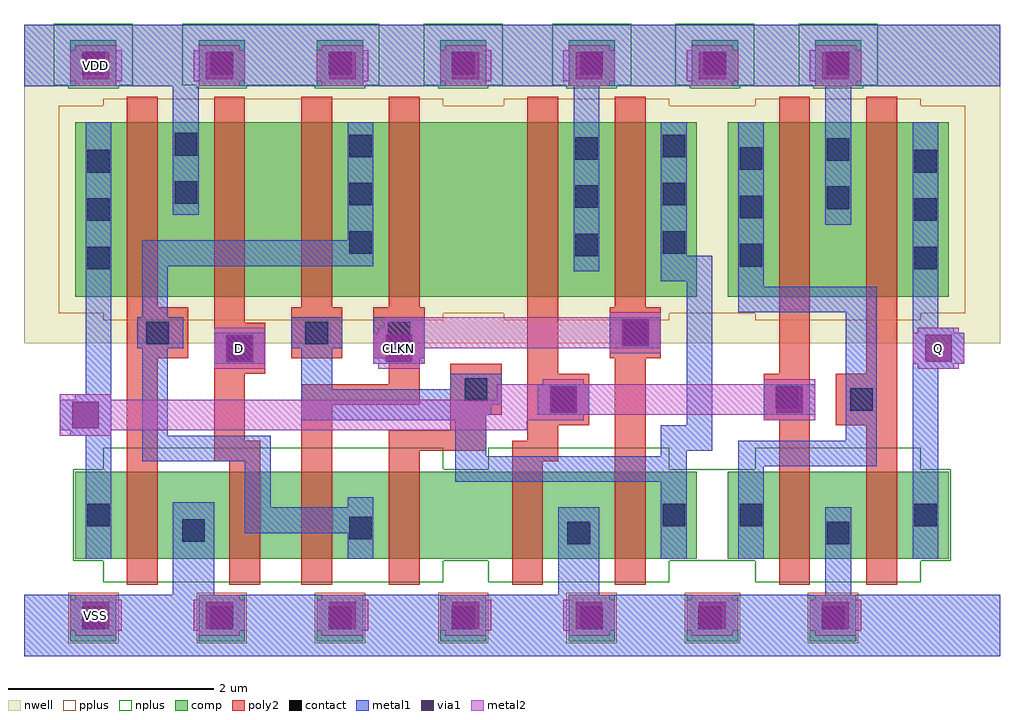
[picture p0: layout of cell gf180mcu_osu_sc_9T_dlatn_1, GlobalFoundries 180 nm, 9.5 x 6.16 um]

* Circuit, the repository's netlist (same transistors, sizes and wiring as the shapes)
* Copyright 2022 Google LLC
*
* Licensed under the Apache License, Version 2.0 (the "License");
* you may not use this file except in compliance with the License.
* You may obtain a copy of the License at
*
*      http://www.apache.org/licenses/LICENSE-2.0
*
* Unless required by applicable law or agreed to in writing, software
* distributed under the License is distributed on an "AS IS" BASIS,
* WITHOUT WARRANTIES OR CONDITIONS OF ANY KIND, either express or implied.
* See the License for the specific language governing permissions and
* limitations under the License.

.option scale=0.05u

.subckt gf180mcu_osu_sc_9T_dlatn_1 D Q CLKN
X0 VDD a_10_19 a_77_70 VDD pmos_3p3 w=34 l=6
X1 a_52_58 CLKN VSS VSS nmos_3p3 w=17 l=6
X2 VDD a_20_14 a_10_19 VDD pmos_3p3 w=34 l=6
X3 Q a_137_19 VDD VDD pmos_3p3 w=34 l=6
X4 a_52_58 CLKN VDD VDD pmos_3p3 w=34 l=6
X5 a_46_19 D VSS VSS nmos_3p3 w=17 l=6
X6 a_20_14 CLKN a_46_19 VSS nmos_3p3 w=17 l=6
X7 a_20_14 a_52_58 a_43_70 VDD pmos_3p3 w=34 l=6
X8 VSS a_10_19 a_137_19 VSS nmos_3p3 w=17 l=6
X9 VDD a_10_19 a_137_19 VDD pmos_3p3 w=34 l=6
X10 a_77_19 a_52_58 a_20_14 VSS nmos_3p3 w=17 l=6
X11 a_77_70 CLKN a_20_14 VDD pmos_3p3 w=34 l=6
X12 VSS a_20_14 a_10_19 VSS nmos_3p3 w=17 l=6
X13 Q a_137_19 VSS VSS nmos_3p3 w=17 l=6
X14 a_43_70 D VDD VDD pmos_3p3 w=34 l=6
X15 VSS a_10_19 a_77_19 VSS nmos_3p3 w=17 l=6
.ends

** hspice subcircuit dictionary

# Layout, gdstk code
import gdstk
lib = gdstk.Library(unit=1e-6, precision=1e-09)
def R(c, l, rs):  # rectangles x0, y0, x1, y1
    for r in rs: c.add(gdstk.rectangle(r[:2], r[2:], *l))
def A(c, l, x, y, w, h, nx, ny, dx, dy):  # array of equal rectangles
    R(c, l, [(x+i*dx, y+j*dy, x+i*dx+w, y+j*dy+h) for i in range(nx) for j in range(ny)])
nwell = (21, 0)
comp = (22, 0)
poly2 = (30, 0)
pplus = (31, 0)
nplus = (32, 0)
contact = (33, 0)
metal1 = (34, 0)
via1 = (35, 0)
metal2 = (36, 0)

gf180mcu_osu_sc_9t_dlatn = lib.new_cell('gf180mcu_osu_sc_9T_dlatn_1')
R(gf180mcu_osu_sc_9t_dlatn, nwell, [(0,3.05,9.5,6.15)])
A(gf180mcu_osu_sc_9t_dlatn, comp, 5.3, 5.55, 0.45, 0.45, 3, 1, 1.2, 0)
R(gf180mcu_osu_sc_9t_dlatn, comp, [(0.45,0.15,0.9,0.6), (1.7,0.15,2.15,0.6), (2.85,0.15,3.3,0.6), (4.05,0.15,4.5,0.6), (5.3,0.15,5.75,0.6), (6.45,0.15,6.95,0.6), (7.65,0.15,8.1,0.6), (0.5,0.95,6.55,1.8), (6.85,0.95,9,1.8), (0.5,3.5,6.55,5.2), (6.85,3.5,9,5.2), (0.45,5.55,0.9,6), (1.7,5.55,2.15,6), (2.85,5.55,3.3,6), (4.05,5.55,4.5,6)])
R(gf180mcu_osu_sc_9t_dlatn, poly2, [(1,0.7,1.3,2.9), (2,0.7,2.3,1.9), (2.7,0.7,3,2.45), (3.55,0.7,3.85,2), (4.75,0.7,5.05,1.9), (5.75,0.7,6.05,2.9), (7.35,0.7,7.65,2.3), (8.2,0.7,8.5,2.25), (1.85,1.9,2.3,2.1), (4.75,1.9,5.2,2.1), (3.55,2,4.5,2.2), (1.85,2.1,2.15,2.75), (4.9,2.1,5.2,2.25), (4.15,2.2,4.5,2.35), (4.9,2.25,5.5,2.75), (7.9,2.25,8.5,2.75), (7.2,2.3,7.65,2.75), (4.15,2.35,4.65,2.85), (2.7,2.45,3.85,2.65), (3.55,2.65,3.85,2.9), (1.85,2.75,2.35,3.25), (4.9,2.75,5.2,5.45), (7.35,2.75,7.65,5.45), (8.2,2.75,8.5,5.45), (1,2.9,1.6,3.4), (2.6,2.9,3.1,3.4), (3.4,2.9,3.9,3.4), (5.7,2.9,6.2,3.4), (1.85,3.25,2.15,5.45), (1,3.4,1.3,5.45), (2.7,3.4,3,5.45), (3.55,3.4,3.85,5.45), (5.75,3.4,6.05,5.45)])
R(gf180mcu_osu_sc_9t_dlatn, pplus, [(0.43,0.13,0.92,0.62), (1.68,0.13,2.17,0.62), (2.83,0.13,3.32,0.62), (4.03,0.13,4.52,0.62), (5.28,0.13,5.77,0.62), (6.43,0.13,6.97,0.62), (7.63,0.13,8.12,0.62), (0.77,3.27,4.08,3.34), (4.67,3.27,6.28,3.34), (7.12,3.27,8.73,3.34), (0.34,3.34,9.16,5.36), (0.77,5.36,4.08,5.43), (4.67,5.36,6.28,5.43), (7.12,5.36,8.73,5.43)])
A(gf180mcu_osu_sc_9t_dlatn, nplus, 5.28, 5.53, 0.49, 0.03, 3, 1, 1.2, 0)
A(gf180mcu_osu_sc_9t_dlatn, nplus, 5.14, 5.56, 0.77, 0.6, 3, 1, 1.2, 0)
R(gf180mcu_osu_sc_9t_dlatn, nplus, [(0.77,0.72,4.08,0.93), (4.52,0.72,6.28,0.93), (7.12,0.72,8.73,0.93), (0.48,0.93,9.02,1.82), (0.77,1.82,4.08,2.03), (4.52,1.82,6.28,2.03), (7.12,1.82,8.73,2.03), (0.43,5.53,0.92,5.56), (1.68,5.53,2.17,5.56), (2.83,5.53,3.32,5.56), (4.03,5.53,4.52,5.56), (0.29,5.56,1.06,6.16), (1.54,5.56,3.46,6.16), (3.89,5.56,4.66,6.16)])
A(gf180mcu_osu_sc_9t_dlatn, contact, 0.615, 3.77, 0.22, 0.22, 1, 3, 0, 0.47)
A(gf180mcu_osu_sc_9t_dlatn, contact, 8.665, 3.77, 0.22, 0.22, 1, 3, 0, 0.47)
A(gf180mcu_osu_sc_9t_dlatn, contact, 6.965, 3.795, 0.22, 0.22, 1, 3, 0, 0.47)
A(gf180mcu_osu_sc_9t_dlatn, contact, 5.365, 3.895, 0.22, 0.22, 1, 3, 0, 0.47)
A(gf180mcu_osu_sc_9t_dlatn, contact, 3.165, 3.92, 0.22, 0.22, 1, 3, 0, 0.47)
A(gf180mcu_osu_sc_9t_dlatn, contact, 6.215, 3.92, 0.22, 0.22, 1, 3, 0, 0.47)
A(gf180mcu_osu_sc_9t_dlatn, contact, 5.415, 5.665, 0.22, 0.22, 3, 1, 1.2, 0)
R(gf180mcu_osu_sc_9t_dlatn, contact, [(0.565,0.265,0.785,0.485), (1.815,0.265,2.035,0.485), (2.965,0.265,3.185,0.485), (4.165,0.265,4.385,0.485), (5.415,0.265,5.635,0.485), (6.565,0.265,6.785,0.485), (7.765,0.265,7.985,0.485), (5.29,1.09,5.51,1.31), (7.815,1.09,8.035,1.31), (1.54,1.115,1.76,1.335), (3.165,1.14,3.385,1.36), (0.615,1.265,0.835,1.485), (6.215,1.265,6.435,1.485), (6.965,1.265,7.185,1.485), (8.665,1.265,8.885,1.485), (5.14,2.39,5.36,2.61), (8.04,2.39,8.26,2.61), (7.315,2.415,7.535,2.635), (4.29,2.49,4.51,2.71), (1.99,2.89,2.21,3.11), (1.19,3.04,1.41,3.26), (2.74,3.04,2.96,3.26), (3.54,3.04,3.76,3.26), (5.84,3.04,6.06,3.26), (7.815,4.355,8.035,4.575), (1.465,4.405,1.685,4.625), (7.815,4.825,8.035,5.045), (1.465,4.875,1.685,5.095), (0.565,5.665,0.785,5.885), (1.815,5.665,2.035,5.885), (2.965,5.665,3.185,5.885), (4.165,5.665,4.385,5.885)])
R(gf180mcu_osu_sc_9t_dlatn, metal1, [(0,0,9.5,0.6), (1.45,0.6,1.85,1.5), (5.2,0.6,5.6,1.45), (7.8,0.6,8.05,1.45), (0.6,0.95,0.85,2.15), (3.15,0.95,3.4,1.2), (6.2,0.95,6.45,1.7), (6.95,0.95,7.2,1.85), (8.65,0.95,8.9,2.8), (2.15,1.2,3.4,1.45), (2.15,1.45,2.4,1.9), (3.15,1.45,3.4,1.55), (4.2,1.7,6.45,1.95), (6.95,1.85,8.3,2.1), (1.15,1.9,2.4,2.15), (4.2,1.95,4.5,2.3), (6.2,1.95,6.45,2), (6.2,2,6.7,2.25), (8,2.1,8.3,3.35), (0.45,2.15,0.85,2.2), (1.15,2.15,1.4,3), (0.35,2.2,0.85,2.5), (6.45,2.25,6.7,3.65), (2.7,2.3,4.5,2.35), (2.7,2.35,4.55,2.45), (5,2.35,5.5,2.65), (7.2,2.35,7.7,2.65), (2.7,2.45,4.65,2.6), (0.5,2.5,0.85,2.55), (0.6,2.55,0.85,5.2), (2.7,2.6,3,3), (4.15,2.6,4.65,2.75), (8.65,2.8,9.05,2.85), (1.85,2.85,2.35,3.15), (3.4,2.85,3.9,3.3), (8.65,2.85,9.15,3.15), (1.1,3,1.55,3.3), (2.6,3,3.1,3.3), (5.7,3,6.2,3.3), (8.65,3.15,9.05,3.2), (8.65,3.2,8.9,5.2), (1.15,3.3,1.4,3.8), (6.95,3.35,8.3,3.6), (6.95,3.6,7.2,5.2), (6.2,3.65,6.7,3.9), (5.35,3.75,5.6,5.55), (1.15,3.8,3.4,4.05), (6.2,3.9,6.45,5.2), (3.15,4.05,3.4,5.2), (7.8,4.2,8.05,5.55), (1.45,4.3,1.7,5.55), (0,5.55,9.5,6.15)])
A(gf180mcu_osu_sc_9t_dlatn, via1, 0.57, 0.27, 0.26, 0.26, 7, 2, 1.2, 5.35)
R(gf180mcu_osu_sc_9t_dlatn, via1, [(0.47,2.22,0.73,2.48), (5.12,2.37,5.38,2.63), (7.32,2.37,7.58,2.63), (1.97,2.87,2.23,3.13), (3.52,2.87,3.78,3.13), (8.77,2.87,9.03,3.13), (5.82,3.02,6.08,3.28)])
A(gf180mcu_osu_sc_9t_dlatn, metal2, 0.5, 0.2, 0.4, 0.05, 7, 2, 1.2, 0.35)
A(gf180mcu_osu_sc_9t_dlatn, metal2, 0.45, 0.25, 0.5, 0.3, 7, 2, 1.2, 5.35)
A(gf180mcu_osu_sc_9t_dlatn, metal2, 0.5, 5.55, 0.4, 0.05, 7, 2, 1.2, 0.35)
R(gf180mcu_osu_sc_9t_dlatn, metal2, [(0.35,2.15,0.85,2.2), (0.35,2.2,4.9,2.3), (0.35,2.3,5.45,2.35), (7.2,2.3,7.7,2.35), (0.35,2.35,7.7,2.5), (0.35,2.5,0.85,2.55), (4.6,2.5,7.7,2.65), (5.05,2.65,5.45,2.7), (7.2,2.65,7.7,2.7), (1.85,2.8,2.35,3.2), (3.45,2.8,3.85,2.85), (8.7,2.8,9.1,2.85), (3.4,2.85,3.9,3), (8.65,2.85,9.15,3.15), (5.7,2.95,6.2,3), (3.4,3,6.2,3.15), (3.45,3.15,6.2,3.2), (8.7,3.15,9.1,3.2), (3.5,3.2,6.2,3.3), (5.7,3.3,6.2,3.35)])
gf180mcu_osu_sc_9t_dlatn.add(gdstk.Label('VDD', (0.7,5.75), layer=36, texttype=0))
gf180mcu_osu_sc_9t_dlatn.add(gdstk.Label('VSS', (0.7,0.4), layer=36, texttype=0))
gf180mcu_osu_sc_9t_dlatn.add(gdstk.Label('D', (2.1,3), layer=36, texttype=10))
gf180mcu_osu_sc_9t_dlatn.add(gdstk.Label('Q', (8.9,3), layer=36, texttype=10))
gf180mcu_osu_sc_9t_dlatn.add(gdstk.Label('CLKN', (3.65,3), layer=36, texttype=10))

lib.write_gds('gf180mcu_osu_sc_9T_dlatn_1.gds')
